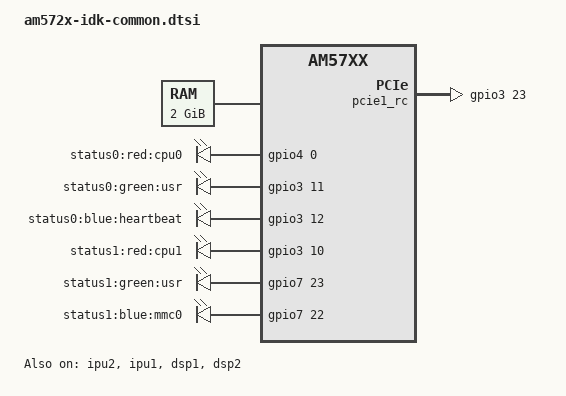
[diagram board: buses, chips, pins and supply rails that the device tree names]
// SPDX-License-Identifier: GPL-2.0
/*
 * Copyright (C) 2017 Texas Instruments Incorporated - https://www.ti.com/
 */

#include <dt-bindings/gpio/gpio.h>
#include <dt-bindings/interrupt-controller/irq.h>
#include "am57xx-idk-common.dtsi"
#include "dra74-ipu-dsp-common.dtsi"

/ {
	memory@0 {
		device_type = "memory";
		reg = <0x0 0x80000000 0x0 0x80000000>;
	};

	reserved-memory {
		#address-cells = <2>;
		#size-cells = <2>;
		ranges;

		ipu2_memory_region: ipu2-memory@95800000 {
			compatible = "shared-dma-pool";
			reg = <0x0 0x95800000 0x0 0x3800000>;
			reusable;
			status = "okay";
		};

		dsp1_memory_region: dsp1-memory@99000000 {
			compatible = "shared-dma-pool";
			reg = <0x0 0x99000000 0x0 0x4000000>;
			reusable;
			status = "okay";
		};

		ipu1_memory_region: ipu1-memory@9d000000 {
			compatible = "shared-dma-pool";
			reg = <0x0 0x9d000000 0x0 0x2000000>;
			reusable;
			status = "okay";
		};

		dsp2_memory_region: dsp2-memory@9f000000 {
			compatible = "shared-dma-pool";
			reg = <0x0 0x9f000000 0x0 0x800000>;
			reusable;
			status = "okay";
		};
	};

	status-leds {
		compatible = "gpio-leds";
		cpu0-led {
			label = "status0:red:cpu0";
			gpios = <&gpio4 0 GPIO_ACTIVE_HIGH>;
			default-state = "off";
			linux,default-trigger = "cpu0";
		};

		usr0-led {
			label = "status0:green:usr";
			gpios = <&gpio3 11 GPIO_ACTIVE_HIGH>;
			default-state = "off";
		};

		heartbeat-led {
			label = "status0:blue:heartbeat";
			gpios = <&gpio3 12 GPIO_ACTIVE_HIGH>;
			default-state = "off";
			linux,default-trigger = "heartbeat";
		};

		cpu1-led {
			label = "status1:red:cpu1";
			gpios = <&gpio3 10 GPIO_ACTIVE_HIGH>;
			default-state = "off";
			linux,default-trigger = "cpu1";
		};

		usr1-led {
			label = "status1:green:usr";
			gpios = <&gpio7 23 GPIO_ACTIVE_HIGH>;
			default-state = "off";
		};

		mmc0-led {
			label = "status1:blue:mmc0";
			gpios = <&gpio7 22 GPIO_ACTIVE_HIGH>;
			default-state = "off";
			linux,default-trigger = "mmc0";
		};
	};

	idk-leds {
		status = "disabled";
		compatible = "gpio-leds";
		red0-led {
			label = "idk:red0";
			gpios = <&gpio6 19 GPIO_ACTIVE_HIGH>;
			default-state = "off";
		};

		green0-led {
			label = "idk:green0";
			gpios = <&gpio3 9 GPIO_ACTIVE_HIGH>;
			default-state = "off";
		};

		blue0-led {
			label = "idk:blue0";
			gpios = <&gpio1 4 GPIO_ACTIVE_HIGH>;
			default-state = "off";
		};

		red1-led {
			label = "idk:red1";
			gpios = <&gpio6 7 GPIO_ACTIVE_HIGH>;
			default-state = "off";
		};

		green1-led {
			label = "idk:green1";
			gpios = <&gpio2 29 GPIO_ACTIVE_HIGH>;
			default-state = "off";
		};

		blue1-led {
			label = "idk:blue1";
			gpios = <&gpio1 5 GPIO_ACTIVE_HIGH>;
			default-state = "off";
		};

		red2-led {
			label = "idk:red2";
			gpios = <&gpio7 9 GPIO_ACTIVE_HIGH>;
			default-state = "off";
		};

		green2-led {
			label = "idk:green2";
			gpios = <&gpio7 8 GPIO_ACTIVE_HIGH>;
			default-state = "off";
		};

		blue2-led {
			label = "idk:blue2";
			gpios = <&gpio7 10 GPIO_ACTIVE_HIGH>;
			default-state = "off";
		};

		red3-led {
			label = "idk:red3";
			gpios = <&gpio7 11 GPIO_ACTIVE_HIGH>;
			default-state = "off";
		};

		green3-led {
			label = "idk:green3";
			gpios = <&gpio3 17 GPIO_ACTIVE_HIGH>;
			default-state = "off";
		};

		blue3-led {
			label = "idk:blue3";
			gpios = <&gpio3 18 GPIO_ACTIVE_HIGH>;
			default-state = "off";
		};
	};
};

&extcon_usb2 {
	id-gpio = <&gpio3 16 GPIO_ACTIVE_HIGH>;
	vbus-gpio = <&gpio3 26 GPIO_ACTIVE_HIGH>;
};

&sn65hvs882 {
	load-gpios = <&gpio3 19 GPIO_ACTIVE_LOW>;
};

&pcie1_rc {
	status = "okay";
	gpios = <&gpio3 23 GPIO_ACTIVE_HIGH>;
};

&ipu2 {
	status = "okay";
	memory-region = <&ipu2_memory_region>;
};

&ipu1 {
	status = "okay";
	memory-region = <&ipu1_memory_region>;
};

&dsp1 {
	status = "okay";
	memory-region = <&dsp1_memory_region>;
};

&dsp2 {
	status = "okay";
	memory-region = <&dsp2_memory_region>;
};
